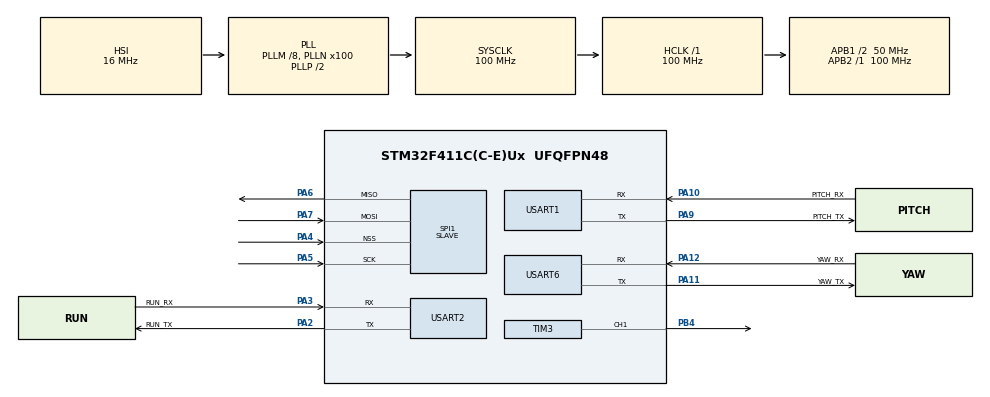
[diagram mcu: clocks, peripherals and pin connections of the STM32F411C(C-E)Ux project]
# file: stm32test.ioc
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Dma.Request0=SPI1_RX
Dma.Request1=SPI1_TX
Dma.SPI1_RX.0.Direction=DMA_PERIPH_TO_MEMORY
Dma.SPI1_RX.0.FIFOMode=DMA_FIFOMODE_DISABLE
Dma.SPI1_RX.0.Instance=DMA2_Stream0
Dma.SPI1_RX.0.MemDataAlignment=DMA_MDATAALIGN_BYTE
Dma.SPI1_RX.0.MemInc=DMA_MINC_ENABLE
Dma.SPI1_RX.0.Mode=DMA_NORMAL
Dma.SPI1_RX.0.PeriphDataAlignment=DMA_PDATAALIGN_BYTE
Dma.SPI1_RX.0.PeriphInc=DMA_PINC_DISABLE
Dma.SPI1_RX.0.Priority=DMA_PRIORITY_HIGH
Dma.SPI1_TX.1.Direction=DMA_MEMORY_TO_PERIPH
Dma.SPI1_TX.1.FIFOMode=DMA_FIFOMODE_DISABLE
Dma.SPI1_TX.1.Instance=DMA2_Stream3
Dma.SPI1_TX.1.MemDataAlignment=DMA_MDATAALIGN_BYTE
Dma.SPI1_TX.1.MemInc=DMA_MINC_ENABLE
Dma.SPI1_TX.1.Mode=DMA_NORMAL
Dma.SPI1_TX.1.PeriphDataAlignment=DMA_PDATAALIGN_BYTE
Dma.SPI1_TX.1.PeriphInc=DMA_PINC_DISABLE
Dma.SPI1_TX.1.Priority=DMA_PRIORITY_HIGH
Mcu.Family=STM32F4
Mcu.Name=STM32F411C(C-E)Ux
Mcu.Package=UFQFPN48
NVIC.DMA2_Stream0_IRQn=true\:0\:0\:false\:false\:true\:false\:true\:true
NVIC.DMA2_Stream3_IRQn=true\:0\:0\:false\:false\:true\:false\:true\:true
NVIC.PriorityGroup=NVIC_PRIORITYGROUP_4
NVIC.USART1_IRQn=true\:0\:0\:false\:false\:true\:true\:true\:true
NVIC.USART2_IRQn=true\:0\:0\:false\:false\:true\:true\:true\:true
NVIC.USART6_IRQn=true\:0\:0\:false\:false\:true\:true\:true\:true
PA10.GPIO_Label=PITCH_RX
PA10.Mode=Asynchronous
PA10.Signal=USART1_RX
PA11.GPIO_Label=YAW_TX
PA11.Mode=Asynchronous
PA11.Signal=USART6_TX
PA12.GPIO_Label=YAW_RX
PA12.Mode=Asynchronous
PA12.Signal=USART6_RX
PA13.Mode=Serial_Wire
PA13.Signal=SYS_JTMS-SWDIO
PA14.Mode=Serial_Wire
PA14.Signal=SYS_JTCK-SWCLK
PA2.GPIO_Label=RUN_TX
PA2.Mode=Asynchronous
PA2.Signal=USART2_TX
PA3.GPIO_Label=RUN_RX
PA3.Mode=Asynchronous
PA3.Signal=USART2_RX
PA4.GPIO_PuPd=GPIO_PULLUP
PA4.Mode=NSS_Signal_Hard_Input
PA4.Signal=SPI1_NSS
PA5.Mode=Full_Duplex_Slave
PA5.Signal=SPI1_SCK
PA6.Mode=Full_Duplex_Slave
PA6.Signal=SPI1_MISO
PA7.Mode=Full_Duplex_Slave
PA7.Signal=SPI1_MOSI
PA9.GPIO_Label=PITCH_TX
PA9.Mode=Asynchronous
PA9.Signal=USART1_TX
PB4.Signal=S_TIM3_CH1
PH0\ -\ OSC_IN.Mode=HSE-External-Oscillator
PH0\ -\ OSC_IN.Signal=RCC_OSC_IN
PH1\ -\ OSC_OUT.Mode=HSE-External-Oscillator
PH1\ -\ OSC_OUT.Signal=RCC_OSC_OUT
ProjectManager.HeapSize=0x200
ProjectManager.StackSize=0x400
ProjectManager.TargetToolchain=CMake
RCC.48MHZClocksFreq_Value=50000000
RCC.AHBFreq_Value=100000000
RCC.APB1CLKDivider=RCC_HCLK_DIV2
RCC.APB1Freq_Value=50000000
RCC.APB1TimFreq_Value=100000000
RCC.APB2Freq_Value=100000000
RCC.APB2TimFreq_Value=100000000
RCC.CortexFreq_Value=100000000
RCC.HCLKFreq_Value=100000000
RCC.HSE_VALUE=25000000
RCC.HSI_VALUE=16000000
RCC.LSE_VALUE=32768
RCC.PLLM=8
RCC.PLLN=100
RCC.SYSCLKFreq_VALUE=100000000
RCC.SYSCLKSource=RCC_SYSCLKSOURCE_PLLCLK
RCC.VCOOutputFreq_Value=200000000
SH.S_TIM3_CH1.0=TIM3_CH1,PWM Generation1 CH1
SPI1.Direction=SPI_DIRECTION_2LINES
SPI1.Mode=SPI_MODE_SLAVE
SPI1.VirtualNSS=VM_NSSHARD
SPI1.VirtualType=VM_SLAVE
TIM3.AutoReloadPreload=TIM_AUTORELOAD_PRELOAD_ENABLE
TIM3.Channel-PWM\ Generation1\ CH1=TIM_CHANNEL_1
TIM3.Period=999
TIM3.Prescaler=99
USART1.VirtualMode=VM_ASYNC
USART2.VirtualMode=VM_ASYNC
USART6.VirtualMode=VM_ASYNC
board=custom

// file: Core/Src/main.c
/* USER CODE BEGIN Header */
/**
  ******************************************************************************
  * @file           : main.c
  * @brief          : Main program body
  ******************************************************************************
  * @attention
  *
  * Copyright (c) 2026 STMicroelectronics.
  * All rights reserved.
  *
  * This software is licensed under terms that can be found in the LICENSE file
  * in the root directory of this software component.
  * If no LICENSE file comes with this software, it is provided AS-IS.
  *
  ******************************************************************************
  */
/* USER CODE END Header */
#include "main.h"

/* USER CODE BEGIN Includes */
#include "app_gimbal.h"   /* 两轴 ZDT 步进 + S 曲线 + 演示动作 */
#include "chassis.h"      /* MG310 四驱底盘（USART2） */
#include "esp_link.h"     /* ESP32-C5 射频桥（USART1, 921600, DMA+IDLE） */
/* USER CODE END Includes */

SPI_HandleTypeDef hspi1;
DMA_HandleTypeDef hdma_spi1_rx;
DMA_HandleTypeDef hdma_spi1_tx;

TIM_HandleTypeDef htim3;

UART_HandleTypeDef huart1;
UART_HandleTypeDef huart2;
UART_HandleTypeDef huart6;

/* USER CODE BEGIN PV */
static uint32_t s_tick_1ms;
static uint32_t s_tick_5ms;
static uint32_t s_tick_1s;
/* USER CODE END PV */

void SystemClock_Config(void);
static void MX_GPIO_Init(void);
static void MX_DMA_Init(void);
static void MX_TIM3_Init(void);
static void MX_USART1_UART_Init(void);
static void MX_USART2_UART_Init(void);
static void MX_USART6_UART_Init(void);
static void MX_SPI1_Init(void);

/* USER CODE BEGIN 0 */
/* 云台相关的静态状态都在 BSP/Src/app_gimbal.c 里，main 只负责节拍 */
/* USER CODE END 0 */

int main(void)
{

  /* MCU Configuration--------------------------------------------------------*/

  /* Reset of all peripherals, Initializes the Flash interface and the Systick. */
  HAL_Init();

  /* Configure the system clock */
  SystemClock_Config();

  /* Initialize all configured peripherals */
  MX_GPIO_Init();
  MX_DMA_Init();
  MX_TIM3_Init();
  MX_USART1_UART_Init();
  MX_USART2_UART_Init();
  MX_USART6_UART_Init();
  MX_SPI1_Init();
  /* USER CODE BEGIN 2 */
  Esp_Init();             /* C5：SPI1 从机（炮塔本地短线，不过滑环） */
  Chassis_Init(&huart2);  /* 设 MG310 类型 + 停车，打开底盘串口接收 */
  Gimbal_Init();          /* 使能两轴 -> 清零 -> 开始演示动作 */
  /* USER CODE END 2 */

  /* Infinite loop */
  while (1)
  {

    /* USER CODE BEGIN 3 */
    uint32_t now = HAL_GetTick();

    if (now != s_tick_1ms)            /* 1 kHz：收串口回包 */
    {
      s_tick_1ms = now;
      Gimbal_Tick1ms();
      Esp_Tick();               /* 解析 C5 帧（非阻塞，滑窗自同步） */
    }

    if ((uint32_t)(now - s_tick_5ms) >= 5u)   /* 200 Hz：S 曲线 + 下发位置 */
    {
      s_tick_5ms = now;
      Gimbal_Tick5ms();
    }

    if ((uint32_t)(now - s_tick_1s) >= 1000u)     /* 1 Hz：读底盘电池 */
    {
      s_tick_1s = now;
      Chassis_Tick1s();
    }

    /* 说明：PB0 按键在新版 .ioc 里已移除，演示重放功能随之取消。
       系统现在靠 C5 头瞄帧自动进入 TRACK；要恢复重放就在 CubeMX 里把 PB0
       加回 GPIO_Input，然后把这里的按键判定补上。 */
  }
  /* USER CODE END 3 */
}

void SystemClock_Config(void)
{
  RCC_OscInitTypeDef RCC_OscInitStruct = {0};
  RCC_ClkInitTypeDef RCC_ClkInitStruct = {0};

  /** Configure the main internal regulator output voltage
  */
  __HAL_RCC_PWR_CLK_ENABLE();
  __HAL_PWR_VOLTAGESCALING_CONFIG(PWR_REGULATOR_VOLTAGE_SCALE1);

  /** Initializes the RCC Oscillators according to the specified parameters
  * in the RCC_OscInitTypeDef structure.
  */
  RCC_OscInitStruct.OscillatorType = RCC_OSCILLATORTYPE_HSI;
  RCC_OscInitStruct.HSIState = RCC_HSI_ON;
  RCC_OscInitStruct.HSICalibrationValue = RCC_HSICALIBRATION_DEFAULT;
  RCC_OscInitStruct.PLL.PLLState = RCC_PLL_ON;
  RCC_OscInitStruct.PLL.PLLSource = RCC_PLLSOURCE_HSI;
  RCC_OscInitStruct.PLL.PLLM = 8;
  RCC_OscInitStruct.PLL.PLLN = 100;
  RCC_OscInitStruct.PLL.PLLP = RCC_PLLP_DIV2;
  RCC_OscInitStruct.PLL.PLLQ = 4;
  if (HAL_RCC_OscConfig(&RCC_OscInitStruct) != HAL_OK)
  {
    Error_Handler();
  }

  /** Initializes the CPU, AHB and APB buses clocks
  */
  RCC_ClkInitStruct.ClockType = RCC_CLOCKTYPE_HCLK|RCC_CLOCKTYPE_SYSCLK
                              |RCC_CLOCKTYPE_PCLK1|RCC_CLOCKTYPE_PCLK2;
  RCC_ClkInitStruct.SYSCLKSource = RCC_SYSCLKSOURCE_PLLCLK;
  RCC_ClkInitStruct.AHBCLKDivider = RCC_SYSCLK_DIV1;
  RCC_ClkInitStruct.APB1CLKDivider = RCC_HCLK_DIV2;
  RCC_ClkInitStruct.APB2CLKDivider = RCC_HCLK_DIV1;

  if (HAL_RCC_ClockConfig(&RCC_ClkInitStruct, FLASH_LATENCY_3) != HAL_OK)
  {
    Error_Handler();
  }
}

static void MX_SPI1_Init(void)
{

  /* SPI1 parameter configuration*/
  hspi1.Instance = SPI1;
  hspi1.Init.Mode = SPI_MODE_SLAVE;
  hspi1.Init.Direction = SPI_DIRECTION_2LINES;
  hspi1.Init.DataSize = SPI_DATASIZE_8BIT;
  hspi1.Init.CLKPolarity = SPI_POLARITY_LOW;
  hspi1.Init.CLKPhase = SPI_PHASE_1EDGE;
  hspi1.Init.NSS = SPI_NSS_HARD_INPUT;
  hspi1.Init.FirstBit = SPI_FIRSTBIT_MSB;
  hspi1.Init.TIMode = SPI_TIMODE_DISABLE;
  hspi1.Init.CRCCalculation = SPI_CRCCALCULATION_DISABLE;
  hspi1.Init.CRCPolynomial = 10;
  if (HAL_SPI_Init(&hspi1) != HAL_OK)
  {
    Error_Handler();
  }

}

static void MX_TIM3_Init(void)
{

  TIM_MasterConfigTypeDef sMasterConfig = {0};
  TIM_OC_InitTypeDef sConfigOC = {0};

  htim3.Instance = TIM3;
  htim3.Init.Prescaler = 99;
  htim3.Init.CounterMode = TIM_COUNTERMODE_UP;
  htim3.Init.Period = 999;
  htim3.Init.ClockDivision = TIM_CLOCKDIVISION_DIV1;
  htim3.Init.AutoReloadPreload = TIM_AUTORELOAD_PRELOAD_ENABLE;
  if (HAL_TIM_PWM_Init(&htim3) != HAL_OK)
  {
    Error_Handler();
  }
  sMasterConfig.MasterOutputTrigger = TIM_TRGO_RESET;
  sMasterConfig.MasterSlaveMode = TIM_MASTERSLAVEMODE_DISABLE;
  if (HAL_TIMEx_MasterConfigSynchronization(&htim3, &sMasterConfig) != HAL_OK)
  {
    Error_Handler();
  }
  sConfigOC.OCMode = TIM_OCMODE_PWM1;
  sConfigOC.Pulse = 0;
  sConfigOC.OCPolarity = TIM_OCPOLARITY_HIGH;
  sConfigOC.OCFastMode = TIM_OCFAST_DISABLE;
  if (HAL_TIM_PWM_ConfigChannel(&htim3, &sConfigOC, TIM_CHANNEL_1) != HAL_OK)
  {
    Error_Handler();
  }
  HAL_TIM_MspPostInit(&htim3);

}

static void MX_USART1_UART_Init(void)
{

  huart1.Instance = USART1;
  huart1.Init.BaudRate = 115200;
  huart1.Init.WordLength = UART_WORDLENGTH_8B;
  huart1.Init.StopBits = UART_STOPBITS_1;
  huart1.Init.Parity = UART_PARITY_NONE;
  huart1.Init.Mode = UART_MODE_TX_RX;
  huart1.Init.HwFlowCtl = UART_HWCONTROL_NONE;
  huart1.Init.OverSampling = UART_OVERSAMPLING_16;
  if (HAL_UART_Init(&huart1) != HAL_OK)
  {
    Error_Handler();
  }

}

static void MX_USART2_UART_Init(void)
{

  huart2.Instance = USART2;
  huart2.Init.BaudRate = 115200;
  huart2.Init.WordLength = UART_WORDLENGTH_8B;
  huart2.Init.StopBits = UART_STOPBITS_1;
  huart2.Init.Parity = UART_PARITY_NONE;
  huart2.Init.Mode = UART_MODE_TX_RX;
  huart2.Init.HwFlowCtl = UART_HWCONTROL_NONE;
  huart2.Init.OverSampling = UART_OVERSAMPLING_16;
  if (HAL_UART_Init(&huart2) != HAL_OK)
  {
    Error_Handler();
  }

}

static void MX_USART6_UART_Init(void)
{

  huart6.Instance = USART6;
  huart6.Init.BaudRate = 115200;
  huart6.Init.WordLength = UART_WORDLENGTH_8B;
  huart6.Init.StopBits = UART_STOPBITS_1;
  huart6.Init.Parity = UART_PARITY_NONE;
  huart6.Init.Mode = UART_MODE_TX_RX;
  huart6.Init.HwFlowCtl = UART_HWCONTROL_NONE;
  huart6.Init.OverSampling = UART_OVERSAMPLING_16;
  if (HAL_UART_Init(&huart6) != HAL_OK)
  {
    Error_Handler();
  }

}

static void MX_DMA_Init(void)
{

  /* DMA controller clock enable */
  __HAL_RCC_DMA2_CLK_ENABLE();

  /* DMA interrupt init */
  /* DMA2_Stream0_IRQn interrupt configuration */
  HAL_NVIC_SetPriority(DMA2_Stream0_IRQn, 0, 0);
  HAL_NVIC_EnableIRQ(DMA2_Stream0_IRQn);
  /* DMA2_Stream3_IRQn interrupt configuration */
  HAL_NVIC_SetPriority(DMA2_Stream3_IRQn, 0, 0);
  HAL_NVIC_EnableIRQ(DMA2_Stream3_IRQn);

}

static void MX_GPIO_Init(void)
{

  /* GPIO Ports Clock Enable */
  __HAL_RCC_GPIOH_CLK_ENABLE();
  __HAL_RCC_GPIOA_CLK_ENABLE();
  __HAL_RCC_GPIOB_CLK_ENABLE();

}

void Error_Handler(void)
{
  __disable_irq();
  while (1)
  {
  }
}
